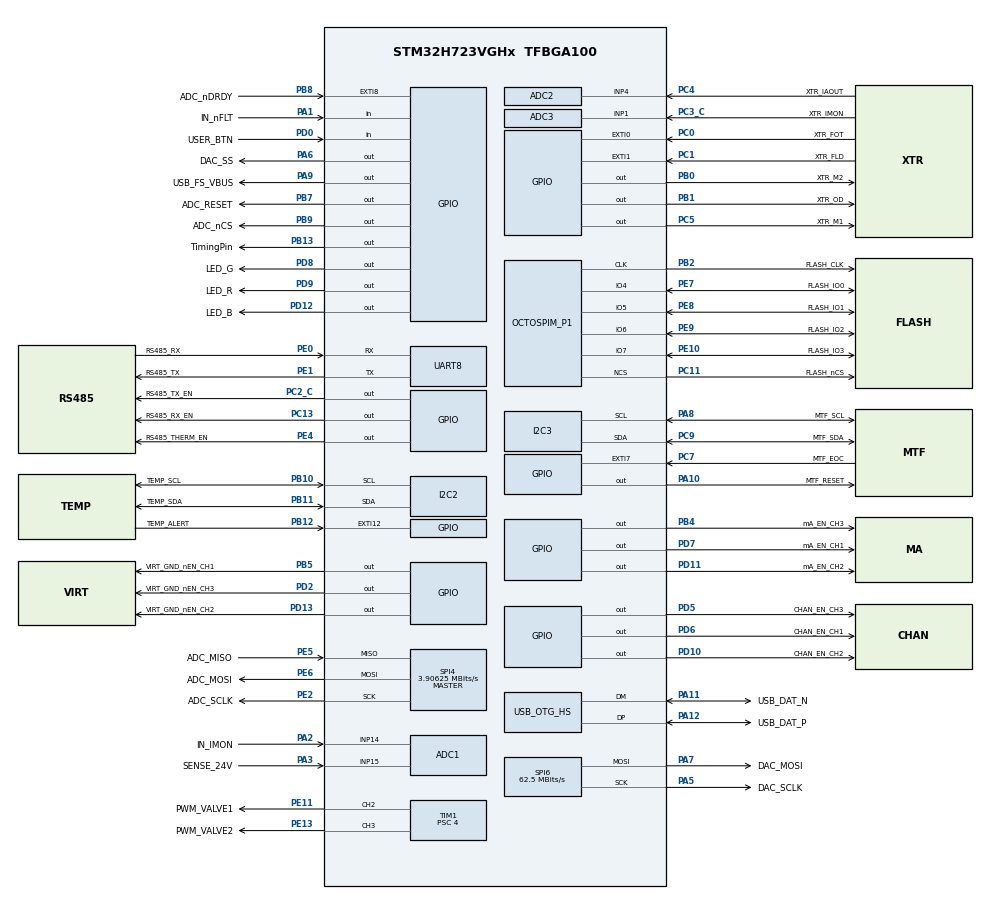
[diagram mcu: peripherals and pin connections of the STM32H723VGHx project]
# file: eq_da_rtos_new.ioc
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ADC1.Channel-0\#ChannelRegularConversion=ADC_CHANNEL_15
ADC1.Channel-1\#ChannelRegularConversion=ADC_CHANNEL_14
ADC1.ClockPrescaler=ADC_CLOCK_ASYNC_DIV128
ADC1.ConversionDataManagement=ADC_CONVERSIONDATA_DMA_ONESHOT
ADC1.NbrOfConversion=2
ADC1.NbrOfConversionFlag=1
ADC1.OffsetNumber-0\#ChannelRegularConversion=ADC_OFFSET_NONE
ADC1.OffsetNumber-1\#ChannelRegularConversion=ADC_OFFSET_NONE
ADC1.OffsetSignedSaturation-0\#ChannelRegularConversion=DISABLE
ADC1.OffsetSignedSaturation-1\#ChannelRegularConversion=DISABLE
ADC1.Rank-0\#ChannelRegularConversion=1
ADC1.Rank-1\#ChannelRegularConversion=2
ADC1.SamplingTime-0\#ChannelRegularConversion=ADC_SAMPLETIME_1CYCLE_5
ADC1.SamplingTime-1\#ChannelRegularConversion=ADC_SAMPLETIME_1CYCLE_5
ADC1.master=1
ADC2.Channel-0\#ChannelRegularConversion=ADC_CHANNEL_4
ADC2.ClockPrescaler=ADC_CLOCK_ASYNC_DIV128
ADC2.EnableAnalogWatchDog1=false
ADC2.NbrOfConversionFlag=1
ADC2.OffsetNumber-0\#ChannelRegularConversion=ADC_OFFSET_NONE
ADC2.OffsetSignedSaturation-0\#ChannelRegularConversion=DISABLE
ADC2.Rank-0\#ChannelRegularConversion=1
ADC2.SamplingTime-0\#ChannelRegularConversion=ADC_SAMPLETIME_1CYCLE_5
ADC3.Channel-0\#ChannelRegularConversion=ADC_CHANNEL_1
ADC3.NbrOfConversionFlag=1
ADC3.OffsetNumber-0\#ChannelRegularConversion=ADC_OFFSET_NONE
ADC3.OffsetSign-0\#ChannelRegularConversion=ADC3_OFFSET_SIGN_NEGATIVE
ADC3.Rank-0\#ChannelRegularConversion=1
ADC3.SamplingTime-0\#ChannelRegularConversion=ADC3_SAMPLETIME_2CYCLES_5
Bdma.ADC3.0.Direction=DMA_PERIPH_TO_MEMORY
Bdma.ADC3.0.EventEnable=DISABLE
Bdma.ADC3.0.Instance=BDMA_Channel1
Bdma.ADC3.0.MemDataAlignment=DMA_MDATAALIGN_HALFWORD
Bdma.ADC3.0.MemInc=DMA_MINC_ENABLE
Bdma.ADC3.0.Mode=DMA_NORMAL
Bdma.ADC3.0.PeriphDataAlignment=DMA_PDATAALIGN_HALFWORD
Bdma.ADC3.0.PeriphInc=DMA_PINC_DISABLE
Bdma.ADC3.0.Polarity=HAL_DMAMUX_REQ_GEN_RISING
Bdma.ADC3.0.Priority=DMA_PRIORITY_LOW
Bdma.ADC3.0.RequestNumber=1
Bdma.ADC3.0.SignalID=NONE
Bdma.ADC3.0.SyncEnable=DISABLE
Bdma.ADC3.0.SyncPolarity=HAL_DMAMUX_SYNC_NO_EVENT
Bdma.ADC3.0.SyncRequestNumber=1
Bdma.ADC3.0.SyncSignalID=NONE
Bdma.Request0=ADC3
Bdma.Request1=SPI6_TX
Bdma.RequestsNb=2
Bdma.SPI6_TX.1.Direction=DMA_MEMORY_TO_PERIPH
Bdma.SPI6_TX.1.EventEnable=DISABLE
Bdma.SPI6_TX.1.Instance=BDMA_Channel0
Bdma.SPI6_TX.1.MemDataAlignment=DMA_MDATAALIGN_BYTE
Bdma.SPI6_TX.1.MemInc=DMA_MINC_ENABLE
Bdma.SPI6_TX.1.Mode=DMA_NORMAL
Bdma.SPI6_TX.1.PeriphDataAlignment=DMA_PDATAALIGN_BYTE
Bdma.SPI6_TX.1.PeriphInc=DMA_PINC_DISABLE
Bdma.SPI6_TX.1.Polarity=HAL_DMAMUX_REQ_GEN_RISING
Bdma.SPI6_TX.1.Priority=DMA_PRIORITY_LOW
Bdma.SPI6_TX.1.RequestNumber=1
Bdma.SPI6_TX.1.SignalID=NONE
Bdma.SPI6_TX.1.SyncEnable=DISABLE
Bdma.SPI6_TX.1.SyncPolarity=HAL_DMAMUX_SYNC_NO_EVENT
Bdma.SPI6_TX.1.SyncRequestNumber=1
Bdma.SPI6_TX.1.SyncSignalID=NONE
Dma.ADC1.0.Direction=DMA_PERIPH_TO_MEMORY
Dma.ADC1.0.EventEnable=DISABLE
Dma.ADC1.0.FIFOMode=DMA_FIFOMODE_DISABLE
Dma.ADC1.0.Instance=DMA2_Stream0
Dma.ADC1.0.MemDataAlignment=DMA_MDATAALIGN_HALFWORD
Dma.ADC1.0.MemInc=DMA_MINC_ENABLE
Dma.ADC1.0.Mode=DMA_NORMAL
Dma.ADC1.0.PeriphDataAlignment=DMA_PDATAALIGN_HALFWORD
Dma.ADC1.0.PeriphInc=DMA_PINC_DISABLE
Dma.ADC1.0.Polarity=HAL_DMAMUX_REQ_GEN_RISING
Dma.ADC1.0.Priority=DMA_PRIORITY_LOW
Dma.ADC1.0.RequestNumber=1
Dma.ADC1.0.SignalID=NONE
Dma.ADC1.0.SyncEnable=DISABLE
Dma.ADC1.0.SyncPolarity=HAL_DMAMUX_SYNC_NO_EVENT
Dma.ADC1.0.SyncRequestNumber=1
Dma.ADC1.0.SyncSignalID=NONE
Dma.ADC2.1.Direction=DMA_PERIPH_TO_MEMORY
Dma.ADC2.1.EventEnable=DISABLE
Dma.ADC2.1.FIFOMode=DMA_FIFOMODE_DISABLE
Dma.ADC2.1.Instance=DMA2_Stream1
Dma.ADC2.1.MemDataAlignment=DMA_MDATAALIGN_HALFWORD
Dma.ADC2.1.MemInc=DMA_MINC_ENABLE
Dma.ADC2.1.Mode=DMA_NORMAL
Dma.ADC2.1.PeriphDataAlignment=DMA_PDATAALIGN_HALFWORD
Dma.ADC2.1.PeriphInc=DMA_PINC_DISABLE
Dma.ADC2.1.Polarity=HAL_DMAMUX_REQ_GEN_RISING
Dma.ADC2.1.Priority=DMA_PRIORITY_LOW
Dma.ADC2.1.RequestNumber=1
Dma.ADC2.1.SignalID=NONE
Dma.ADC2.1.SyncEnable=DISABLE
Dma.ADC2.1.SyncPolarity=HAL_DMAMUX_SYNC_NO_EVENT
Dma.ADC2.1.SyncRequestNumber=1
Dma.ADC2.1.SyncSignalID=NONE
Dma.I2C2_RX.8.Direction=DMA_PERIPH_TO_MEMORY
Dma.I2C2_RX.8.EventEnable=DISABLE
Dma.I2C2_RX.8.FIFOMode=DMA_FIFOMODE_DISABLE
Dma.I2C2_RX.8.Instance=DMA1_Stream6
Dma.I2C2_RX.8.MemDataAlignment=DMA_MDATAALIGN_BYTE
Dma.I2C2_RX.8.MemInc=DMA_MINC_ENABLE
Dma.I2C2_RX.8.Mode=DMA_NORMAL
Dma.I2C2_RX.8.PeriphDataAlignment=DMA_PDATAALIGN_BYTE
Dma.I2C2_RX.8.PeriphInc=DMA_PINC_DISABLE
Dma.I2C2_RX.8.Polarity=HAL_DMAMUX_REQ_GEN_RISING
Dma.I2C2_RX.8.Priority=DMA_PRIORITY_LOW
Dma.I2C2_RX.8.RequestNumber=1
Dma.I2C2_RX.8.SignalID=NONE
Dma.I2C2_RX.8.SyncEnable=DISABLE
Dma.I2C2_RX.8.SyncPolarity=HAL_DMAMUX_SYNC_NO_EVENT
Dma.I2C2_RX.8.SyncRequestNumber=1
Dma.I2C2_RX.8.SyncSignalID=NONE
Dma.I2C2_TX.9.Direction=DMA_MEMORY_TO_PERIPH
Dma.I2C2_TX.9.EventEnable=DISABLE
Dma.I2C2_TX.9.FIFOMode=DMA_FIFOMODE_DISABLE
Dma.I2C2_TX.9.Instance=DMA1_Stream7
Dma.I2C2_TX.9.MemDataAlignment=DMA_MDATAALIGN_BYTE
Dma.I2C2_TX.9.MemInc=DMA_MINC_ENABLE
Dma.I2C2_TX.9.Mode=DMA_NORMAL
Dma.I2C2_TX.9.PeriphDataAlignment=DMA_PDATAALIGN_BYTE
Dma.I2C2_TX.9.PeriphInc=DMA_PINC_DISABLE
Dma.I2C2_TX.9.Polarity=HAL_DMAMUX_REQ_GEN_RISING
Dma.I2C2_TX.9.Priority=DMA_PRIORITY_LOW
Dma.I2C2_TX.9.RequestNumber=1
Dma.I2C2_TX.9.SignalID=NONE
Dma.I2C2_TX.9.SyncEnable=DISABLE
Dma.I2C2_TX.9.SyncPolarity=HAL_DMAMUX_SYNC_NO_EVENT
Dma.I2C2_TX.9.SyncRequestNumber=1
Dma.I2C2_TX.9.SyncSignalID=NONE
Dma.I2C3_RX.6.Direction=DMA_PERIPH_TO_MEMORY
Dma.I2C3_RX.6.EventEnable=DISABLE
Dma.I2C3_RX.6.FIFOMode=DMA_FIFOMODE_DISABLE
Dma.I2C3_RX.6.Instance=DMA1_Stream4
Dma.I2C3_RX.6.MemDataAlignment=DMA_MDATAALIGN_BYTE
Dma.I2C3_RX.6.MemInc=DMA_MINC_ENABLE
Dma.I2C3_RX.6.Mode=DMA_NORMAL
Dma.I2C3_RX.6.PeriphDataAlignment=DMA_PDATAALIGN_BYTE
Dma.I2C3_RX.6.PeriphInc=DMA_PINC_DISABLE
Dma.I2C3_RX.6.Polarity=HAL_DMAMUX_REQ_GEN_RISING
Dma.I2C3_RX.6.Priority=DMA_PRIORITY_LOW
Dma.I2C3_RX.6.RequestNumber=1
Dma.I2C3_RX.6.SignalID=NONE
Dma.I2C3_RX.6.SyncEnable=DISABLE
Dma.I2C3_RX.6.SyncPolarity=HAL_DMAMUX_SYNC_NO_EVENT
Dma.I2C3_RX.6.SyncRequestNumber=1
Dma.I2C3_RX.6.SyncSignalID=NONE
Dma.I2C3_TX.7.Direction=DMA_MEMORY_TO_PERIPH
Dma.I2C3_TX.7.EventEnable=DISABLE
Dma.I2C3_TX.7.FIFOMode=DMA_FIFOMODE_DISABLE
Dma.I2C3_TX.7.Instance=DMA1_Stream5
Dma.I2C3_TX.7.MemDataAlignment=DMA_MDATAALIGN_BYTE
Dma.I2C3_TX.7.MemInc=DMA_MINC_ENABLE
Dma.I2C3_TX.7.Mode=DMA_NORMAL
Dma.I2C3_TX.7.PeriphDataAlignment=DMA_PDATAALIGN_BYTE
Dma.I2C3_TX.7.PeriphInc=DMA_PINC_DISABLE
Dma.I2C3_TX.7.Polarity=HAL_DMAMUX_REQ_GEN_RISING
Dma.I2C3_TX.7.Priority=DMA_PRIORITY_LOW
Dma.I2C3_TX.7.RequestNumber=1
Dma.I2C3_TX.7.SignalID=NONE
Dma.I2C3_TX.7.SyncEnable=DISABLE
Dma.I2C3_TX.7.SyncPolarity=HAL_DMAMUX_SYNC_NO_EVENT
Dma.I2C3_TX.7.SyncRequestNumber=1
Dma.I2C3_TX.7.SyncSignalID=NONE
Dma.Request0=ADC1
Dma.Request1=ADC2
Dma.Request2=UART8_RX
Dma.Request3=UART8_TX
Dma.Request4=SPI4_RX
Dma.Request5=SPI4_TX
Dma.Request6=I2C3_RX
Dma.Request7=I2C3_TX
Dma.Request8=I2C2_RX
Dma.Request9=I2C2_TX
Dma.SPI4_RX.4.Direction=DMA_PERIPH_TO_MEMORY
Dma.SPI4_RX.4.EventEnable=DISABLE
Dma.SPI4_RX.4.FIFOMode=DMA_FIFOMODE_DISABLE
Dma.SPI4_RX.4.Instance=DMA1_Stream2
Dma.SPI4_RX.4.MemDataAlignment=DMA_MDATAALIGN_BYTE
Dma.SPI4_RX.4.MemInc=DMA_MINC_ENABLE
Dma.SPI4_RX.4.Mode=DMA_NORMAL
Dma.SPI4_RX.4.PeriphDataAlignment=DMA_PDATAALIGN_BYTE
Dma.SPI4_RX.4.PeriphInc=DMA_PINC_DISABLE
Dma.SPI4_RX.4.Polarity=HAL_DMAMUX_REQ_GEN_RISING
Dma.SPI4_RX.4.Priority=DMA_PRIORITY_LOW
Dma.SPI4_RX.4.RequestNumber=1
Dma.SPI4_RX.4.SignalID=NONE
Dma.SPI4_RX.4.SyncEnable=DISABLE
Dma.SPI4_RX.4.SyncPolarity=HAL_DMAMUX_SYNC_NO_EVENT
Dma.SPI4_RX.4.SyncRequestNumber=1
Dma.SPI4_RX.4.SyncSignalID=NONE
Dma.SPI4_TX.5.Direction=DMA_MEMORY_TO_PERIPH
Dma.SPI4_TX.5.EventEnable=DISABLE
Dma.SPI4_TX.5.FIFOMode=DMA_FIFOMODE_DISABLE
Dma.SPI4_TX.5.Instance=DMA1_Stream3
Dma.SPI4_TX.5.MemDataAlignment=DMA_MDATAALIGN_BYTE
Dma.SPI4_TX.5.MemInc=DMA_MINC_ENABLE
Dma.SPI4_TX.5.Mode=DMA_NORMAL
Dma.SPI4_TX.5.PeriphDataAlignment=DMA_PDATAALIGN_BYTE
Dma.SPI4_TX.5.PeriphInc=DMA_PINC_DISABLE
Dma.SPI4_TX.5.Polarity=HAL_DMAMUX_REQ_GEN_RISING
Dma.SPI4_TX.5.Priority=DMA_PRIORITY_LOW
Dma.SPI4_TX.5.RequestNumber=1
Dma.SPI4_TX.5.SignalID=NONE
Dma.SPI4_TX.5.SyncEnable=DISABLE
Dma.SPI4_TX.5.SyncPolarity=HAL_DMAMUX_SYNC_NO_EVENT
Dma.SPI4_TX.5.SyncRequestNumber=1
Dma.SPI4_TX.5.SyncSignalID=NONE
Dma.UART8_RX.2.Direction=DMA_PERIPH_TO_MEMORY
Dma.UART8_RX.2.EventEnable=DISABLE
Dma.UART8_RX.2.FIFOMode=DMA_FIFOMODE_DISABLE
Dma.UART8_RX.2.Instance=DMA1_Stream0
Dma.UART8_RX.2.MemDataAlignment=DMA_MDATAALIGN_BYTE
Dma.UART8_RX.2.MemInc=DMA_MINC_ENABLE
Dma.UART8_RX.2.Mode=DMA_NORMAL
Dma.UART8_RX.2.PeriphDataAlignment=DMA_PDATAALIGN_BYTE
Dma.UART8_RX.2.PeriphInc=DMA_PINC_DISABLE
Dma.UART8_RX.2.Polarity=HAL_DMAMUX_REQ_GEN_RISING
Dma.UART8_RX.2.Priority=DMA_PRIORITY_LOW
Dma.UART8_RX.2.RequestNumber=1
Dma.UART8_RX.2.SignalID=NONE
Dma.UART8_RX.2.SyncEnable=DISABLE
Dma.UART8_RX.2.SyncPolarity=HAL_DMAMUX_SYNC_NO_EVENT
Dma.UART8_RX.2.SyncRequestNumber=1
Dma.UART8_RX.2.SyncSignalID=NONE
Dma.UART8_TX.3.Direction=DMA_MEMORY_TO_PERIPH
Dma.UART8_TX.3.EventEnable=DISABLE
Dma.UART8_TX.3.FIFOMode=DMA_FIFOMODE_DISABLE
Dma.UART8_TX.3.Instance=DMA1_Stream1
Dma.UART8_TX.3.MemDataAlignment=DMA_MDATAALIGN_BYTE
Dma.UART8_TX.3.MemInc=DMA_MINC_ENABLE
Dma.UART8_TX.3.Mode=DMA_NORMAL
Dma.UART8_TX.3.PeriphDataAlignment=DMA_PDATAALIGN_BYTE
Dma.UART8_TX.3.PeriphInc=DMA_PINC_DISABLE
Dma.UART8_TX.3.Polarity=HAL_DMAMUX_REQ_GEN_RISING
Dma.UART8_TX.3.Priority=DMA_PRIORITY_LOW
Dma.UART8_TX.3.RequestNumber=1
Dma.UART8_TX.3.SignalID=NONE
Dma.UART8_TX.3.SyncEnable=DISABLE
Dma.UART8_TX.3.SyncPolarity=HAL_DMAMUX_SYNC_NO_EVENT
Dma.UART8_TX.3.SyncRequestNumber=1
Dma.UART8_TX.3.SyncSignalID=NONE
FREERTOS.Mutexes01=eqDaMutex,Dynamic,NULL,Available
FREERTOS.Tasks01=StatusLedThread,24,256,StartStatusLedThread,Default,NULL,Dynamic,NULL,NULL;SensorControlTh,24,256,StartSensorControlThread,Default,NULL,Dynamic,NULL,NULL;AdcSensorThread,24,256,StartAdcSensorThread,Default,NULL,Dynamic,NULL,NULL;RefSensorThread,24,256,StartRefSensorThread,Default,NULL,Dynamic,NULL,NULL;SetpointThread,24,256,StartSetpointThread,Default,NULL,Dynamic,NULL,NULL;AlgorithmThread,24,256,StartAlgorithmThread,Default,NULL,Dynamic,NULL,NULL;ValveCurrentThr,24,256,StartValveCurrentThread,Default,NULL,Dynamic,NULL,NULL;AnalogOutThread,24,256,StartAnalogOutThread,Default,NULL,Dynamic,NULL,NULL;StatusThread,24,256,StartStatusThread,Default,NULL,Dynamic,NULL,NULL;LogThread,24,256,StartLogThread,Default,NULL,Dynamic,NULL,NULL;SecurityThread,24,256,StartSecurityThread,Default,NULL,Dynamic,NULL,NULL;ButtonThread,24,256,StartButtonThread,Default,NULL,Dynamic,NULL,NULL;ModbusThread,24,256,StartModbusThread,Default,NULL,Dynamic,NULL,NULL;WatchDogThread,24,256,StartWatchDogThread,Default,NULL,Dynamic,NULL,NULL
FREERTOS.Timers01=msTimer,msCallback,osTimerPeriodic,Default,NULL,Dynamic,NULL
FREERTOS.configMINIMAL_STACK_SIZE=256
FREERTOS.configTOTAL_HEAP_SIZE=20000
FREERTOS.configUSE_NEWLIB_REENTRANT=1
I2C2.Timing=0x20A0A3F6
I2C3.Timing=0x20A0A3F6
IWDG1.Prescaler=IWDG_PRESCALER_256
Mcu.Family=STM32H7
Mcu.Name=STM32H723VGHx
Mcu.Package=TFBGA100
Mdma.MDMA_Channel0.OCTOSPI1_FIFO_TH.0.BlockCount=0
Mdma.MDMA_Channel0.OCTOSPI1_FIFO_TH.0.BlockDataLength=0
Mdma.MDMA_Channel0.OCTOSPI1_FIFO_TH.0.BufferTransferLength=1
Mdma.MDMA_Channel0.OCTOSPI1_FIFO_TH.0.CircularMode=MDMA_LINEAR_LIST
Mdma.MDMA_Channel0.OCTOSPI1_FIFO_TH.0.DataAlignment=MDMA_DATAALIGN_PACKENABLE
Mdma.MDMA_Channel0.OCTOSPI1_FIFO_TH.0.DestBlockAddressOffset=0
Mdma.MDMA_Channel0.OCTOSPI1_FIFO_TH.0.DestBurst=MDMA_DEST_BURST_SINGLE
Mdma.MDMA_Channel0.OCTOSPI1_FIFO_TH.0.DestDataSize=MDMA_DEST_DATASIZE_BYTE
Mdma.MDMA_Channel0.OCTOSPI1_FIFO_TH.0.DestinationInc=MDMA_DEST_INC_BYTE
Mdma.MDMA_Channel0.OCTOSPI1_FIFO_TH.0.DstAddress=0
Mdma.MDMA_Channel0.OCTOSPI1_FIFO_TH.0.Endianness=MDMA_LITTLE_ENDIANNESS_PRESERVE
Mdma.MDMA_Channel0.OCTOSPI1_FIFO_TH.0.Instance=MDMA_Channel0
Mdma.MDMA_Channel0.OCTOSPI1_FIFO_TH.0.MaskAddress=0
Mdma.MDMA_Channel0.OCTOSPI1_FIFO_TH.0.MaskData=0
Mdma.MDMA_Channel0.OCTOSPI1_FIFO_TH.0.Priority=MDMA_PRIORITY_LOW
Mdma.MDMA_Channel0.OCTOSPI1_FIFO_TH.0.Rank=First
Mdma.MDMA_Channel0.OCTOSPI1_FIFO_TH.0.SourceBlockAddressOffset=0
Mdma.MDMA_Channel0.OCTOSPI1_FIFO_TH.0.SourceBurst=MDMA_SOURCE_BURST_SINGLE
Mdma.MDMA_Channel0.OCTOSPI1_FIFO_TH.0.SourceDataSize=MDMA_SRC_DATASIZE_BYTE
Mdma.MDMA_Channel0.OCTOSPI1_FIFO_TH.0.SourceInc=MDMA_SRC_INC_BYTE
Mdma.MDMA_Channel0.OCTOSPI1_FIFO_TH.0.SrcAddress=0
Mdma.MDMA_Channel0.OCTOSPI1_FIFO_TH.0.TransferTriggerMode=MDMA_BUFFER_TRANSFER
Mdma.MDMA_Channel0.Request0=OCTOSPI1_FIFO_TH
Mdma.MDMA_Channel0.RequestsNb=1
Mdma.RequestSet0=MDMA_Channel0
Mdma.RequestSetsNb=1
NVIC.ADC_IRQn=true\:6\:0\:true\:false\:true\:true\:true\:true\:true
NVIC.BDMA_Channel0_IRQn=true\:5\:0\:true\:false\:true\:true\:false\:true\:true
NVIC.BDMA_Channel1_IRQn=true\:5\:0\:true\:false\:true\:true\:false\:true\:true
NVIC.DMA1_Stream0_IRQn=true\:5\:0\:true\:false\:true\:true\:false\:true\:true
NVIC.DMA1_Stream1_IRQn=true\:5\:0\:true\:false\:true\:true\:false\:true\:true
NVIC.DMA1_Stream2_IRQn=true\:5\:0\:true\:false\:true\:true\:false\:true\:true
NVIC.DMA1_Stream3_IRQn=true\:5\:0\:true\:false\:true\:true\:false\:true\:true
NVIC.DMA1_Stream4_IRQn=true\:5\:0\:true\:false\:true\:true\:false\:true\:true
NVIC.DMA1_Stream5_IRQn=true\:5\:0\:true\:false\:true\:true\:false\:true\:true
NVIC.DMA1_Stream6_IRQn=true\:5\:0\:true\:false\:true\:true\:false\:true\:true
NVIC.DMA1_Stream7_IRQn=true\:5\:0\:true\:false\:true\:true\:false\:true\:true
NVIC.DMA2_Stream0_IRQn=true\:5\:0\:true\:false\:true\:true\:false\:true\:true
NVIC.DMA2_Stream1_IRQn=true\:5\:0\:true\:false\:true\:true\:false\:true\:true
NVIC.EXTI0_IRQn=true\:6\:0\:true\:false\:true\:true\:true\:true\:true
NVIC.EXTI15_10_IRQn=true\:6\:0\:true\:false\:true\:true\:true\:true\:true
NVIC.EXTI1_IRQn=true\:6\:0\:true\:false\:true\:true\:true\:true\:true
NVIC.EXTI9_5_IRQn=true\:6\:0\:true\:false\:true\:true\:true\:true\:true
NVIC.I2C2_EV_IRQn=true\:6\:0\:true\:false\:true\:true\:true\:true\:true
NVIC.MDMA_IRQn=true\:5\:0\:true\:false\:true\:true\:false\:true\:true
NVIC.OCTOSPI1_IRQn=true\:6\:0\:true\:false\:true\:true\:true\:true\:true
NVIC.OTG_HS_IRQn=true\:6\:0\:true\:false\:true\:true\:false\:true\:true
NVIC.PriorityGroup=NVIC_PRIORITYGROUP_4
NVIC.SPI4_IRQn=true\:6\:0\:true\:false\:true\:true\:false\:true\:true
NVIC.SPI6_IRQn=true\:6\:0\:true\:false\:true\:true\:false\:true\:true
NVIC.TIM2_IRQn=true\:6\:0\:true\:false\:true\:false\:false\:true\:true
NVIC.TimeBase=TIM2_IRQn
NVIC.TimeBaseIP=TIM2
NVIC.UART8_IRQn=true\:6\:0\:true\:false\:true\:true\:true\:true\:true
PA0.GPIO_Label=XTR_FMC
PA0.Signal=S_TIM5_CH1
PA1.GPIO_Label=IN_nFLT
PA1.Signal=GPIO_Input
PA10.GPIO_Label=MTF_RESET
PA10.Signal=GPIO_Output
PA11.GPIO_Label=USB_DAT_N
PA11.Mode=Device_Only_FS
PA11.Signal=USB_OTG_HS_DM
PA12.GPIO_Label=USB_DAT_P
PA12.Mode=Device_Only_FS
PA12.Signal=USB_OTG_HS_DP
PA13(JTMS/SWDIO).GPIO_Label=SWDIO
PA13(JTMS/SWDIO).Mode=Serial_Wire
PA13(JTMS/SWDIO).Signal=DEBUG_JTMS-SWDIO
PA14(JTCK/SWCLK).GPIO_Label=SWCLK
PA14(JTCK/SWCLK).Mode=Serial_Wire
PA14(JTCK/SWCLK).Signal=DEBUG_JTCK-SWCLK
PA15(JTDI).GPIO_Label=IN_nSHDN
PA15(JTDI).Signal=S_TIM2_CH1_ETR
PA2.GPIO_Label=IN_IMON
PA2.Signal=ADCx_INP14
PA3.GPIO_Label=SENSE_24V
PA3.Signal=ADCx_INP15
PA5.GPIO_Label=DAC_SCLK
PA5.Mode=TX_Only_Simplex_Unidirect_Master
PA5.Signal=SPI6_SCK
PA6.GPIO_Label=DAC_SS
PA6.Signal=GPIO_Output
PA7.GPIO_Label=DAC_MOSI
PA7.Mode=TX_Only_Simplex_Unidirect_Master
PA7.Signal=SPI6_MOSI
PA8.GPIO_Label=MTF_SCL
PA8.GPIO_Pu=GPIO_PULLUP
PA8.Mode=I2C
PA8.Signal=I2C3_SCL
PA9.GPIO_Label=USB_FS_VBUS
PA9.Signal=GPIO_Output
PB0.GPIO_Label=XTR_M2
PB0.Signal=GPIO_Output
PB1.GPIO_Label=XTR_OD
PB1.Signal=GPIO_Output
PB10.GPIO_Label=TEMP_SCL
PB10.GPIO_Pu=GPIO_PULLUP
PB10.Mode=I2C
PB10.Signal=I2C2_SCL
PB11.GPIO_Label=TEMP_SDA
PB11.GPIO_Pu=GPIO_PULLUP
PB11.Mode=I2C
PB11.Signal=I2C2_SDA
PB12.GPIO_Label=TEMP_ALERT
PB12.Signal=GPXTI12
PB13.GPIO_Label=TimingPin
PB13.GPIO_PuPd=GPIO_PULLDOWN
PB13.Signal=GPIO_Output
PB2.GPIO_Label=FLASH_CLK
PB2.Mode=O1_P1_CLK
PB2.Signal=OCTOSPIM_P1_CLK
PB3(JTDO/TRACESWO).GPIO_Label=SWO
PB3(JTDO/TRACESWO).Signal=DEBUG_JTDO-SWO
PB4(NJTRST).GPIO_Label=mA_EN_CH3
PB4(NJTRST).Signal=GPIO_Output
PB5.GPIO_Label=VIRT_GND_nEN_CH1
PB5.Signal=GPIO_Output
PB7.GPIO_Label=ADC_RESET
PB7.Signal=GPIO_Output
PB8.GPIO_Label=ADC_nDRDY
PB8.GPIO_ModeDefaultEXTI=GPIO_MODE_IT_RISING_FALLING
PB8.GPIO_PuPd=GPIO_PULLUP
PB8.Signal=GPXTI8
PB9.GPIO_Label=ADC_nCS
PB9.Signal=GPIO_Output
PC0.GPIO_Label=XTR_FOT
PC0.Signal=GPXTI0
PC1.GPIO_Label=XTR_FLD
PC1.Signal=GPXTI1
PC11.GPIO_Label=FLASH_nCS
PC11.Mode=OCTOSPI1_Port1_NCS
PC11.Signal=OCTOSPIM_P1_NCS
PC13.GPIO_Label=RS485_RX_EN
PC13.Signal=GPIO_Output
PC14-OSC32_IN.GPIO_Label=CR_32_N
PC14-OSC32_IN.Mode=LSE-External-Oscillator
PC14-OSC32_IN.Signal=RCC_OSC32_IN
PC15-OSC32_OUT.GPIO_Label=CR_32_P
PC15-OSC32_OUT.Mode=LSE-External-Oscillator
PC15-OSC32_OUT.Signal=RCC_OSC32_OUT
PC2_C.GPIO_Label=RS485_TX_EN
PC2_C.Signal=GPIO_Output
PC3_C.GPIO_Label=XTR_IMON
PC3_C.Mode=IN1-Single-Ended
PC3_C.Signal=ADC3_INP1
PC4.GPIO_Label=XTR_IAOUT
PC4.Signal=ADCx_INP4
PC5.GPIO_Label=XTR_M1
PC5.Signal=GPIO_Output
PC7.GPIO_Label=MTF_EOC
PC7.Signal=GPXTI7
PC9.GPIO_Label=MTF_SDA
PC9.GPIO_Pu=GPIO_PULLUP
PC9.Mode=I2C
PC9.Signal=I2C3_SDA
PD0.GPIO_Label=USER_BTN
PD0.GPIO_PuPd=GPIO_PULLUP
PD0.Signal=GPIO_Input
PD10.GPIO_Label=CHAN_EN_CH2
PD10.Signal=GPIO_Output
PD11.GPIO_Label=mA_EN_CH2
PD11.Signal=GPIO_Output
PD12.GPIO_Label=LED_B
PD12.Signal=GPIO_Output
PD13.GPIO_Label=VIRT_GND_nEN_CH2
PD13.Signal=GPIO_Output
PD2.GPIO_Label=VIRT_GND_nEN_CH3
PD2.Signal=GPIO_Output
PD5.GPIO_Label=CHAN_EN_CH3
PD5.Signal=GPIO_Output
PD6.GPIO_Label=CHAN_EN_CH1
PD6.Signal=GPIO_Output
PD7.GPIO_Label=mA_EN_CH1
PD7.Signal=GPIO_Output
PD8.GPIO_Label=LED_G
PD8.Signal=GPIO_Output
PD9.GPIO_Label=LED_R
PD9.Signal=GPIO_Output
PE0.GPIO_Label=RS485_RX
PE0.Mode=Asynchronous
PE0.Signal=UART8_RX
PE1.GPIO_Label=RS485_TX
PE1.Mode=Asynchronous
PE1.Signal=UART8_TX
PE10.GPIO_Label=FLASH_IO3
PE10.Mode=OCTOSPI1_IOL_Port1H
PE10.Signal=OCTOSPIM_P1_IO7
PE11.GPIO_Label=PWM_VALVE1
PE11.GPIO_ModeDefaultPP=GPIO_MODE_AF_PP
PE11.Signal=S_TIM1_CH2
PE13.GPIO_Label=PWM_VALVE2
PE13.GPIO_ModeDefaultPP=GPIO_MODE_AF_PP
PE13.Signal=S_TIM1_CH3
PE2.GPIO_Label=ADC_SCLK
PE2.Mode=Full_Duplex_Master
PE2.Signal=SPI4_SCK
PE4.GPIO_Label=RS485_THERM_EN
PE4.Signal=GPIO_Output
PE5.GPIO_Label=ADC_MISO
PE5.Mode=Full_Duplex_Master
PE5.Signal=SPI4_MISO
PE6.GPIO_Label=ADC_MOSI
PE6.Mode=Full_Duplex_Master
PE6.Signal=SPI4_MOSI
PE7.GPIO_Label=FLASH_IO0
PE7.Mode=OCTOSPI1_IOL_Port1H
PE7.Signal=OCTOSPIM_P1_IO4
PE8.GPIO_Label=FLASH_IO1
PE8.Mode=OCTOSPI1_IOL_Port1H
PE8.Signal=OCTOSPIM_P1_IO5
PE9.GPIO_Label=FLASH_IO2
PE9.Mode=OCTOSPI1_IOL_Port1H
PE9.Signal=OCTOSPIM_P1_IO6
PH0-OSC_IN.GPIO_Label=CR_N
PH0-OSC_IN.Mode=HSE-External-Oscillator
PH0-OSC_IN.Signal=RCC_OSC_IN
PH1-OSC_OUT.GPIO_Label=CR_P
PH1-OSC_OUT.Mode=HSE-External-Oscillator
PH1-OSC_OUT.Signal=RCC_OSC_OUT
ProjectManager.HeapSize=0x200
ProjectManager.StackSize=0x400
ProjectManager.TargetToolchain=STM32CubeIDE
RCC.ADCFreq_Value=129000000
RCC.APB1Freq_Value=125000000
RCC.APB2Freq_Value=125000000
RCC.APB3Freq_Value=125000000
RCC.APB4Freq_Value=125000000
RCC.CortexFreq_Value=500000000
RCC.D1PPRE=RCC_APB3_DIV2
RCC.D2PPRE1=RCC_APB1_DIV2
RCC.D2PPRE2=RCC_APB2_DIV2
RCC.D3PPRE=RCC_APB4_DIV2
RCC.DIVM1=6
RCC.DIVM2=12
RCC.DIVN1=125
RCC.DIVN3=90
RCC.DIVP1=1
RCC.DIVR2=12
RCC.DIVR3=8
RCC.HCLKFreq_Value=250000000
RCC.HPRE=RCC_HCLK_DIV2
RCC.HSE_VALUE=24000000
RCC.LSE_Timout=10000
RCC.PLLSourceVirtual=RCC_PLLSOURCE_HSE
RCC.PWR_Regulator_Voltage_Scale=PWR_REGULATOR_VOLTAGE_SCALE0
RCC.RTCClockSelection=RCC_RTCCLKSOURCE_LSE
RCC.SYSCLKFreq_VALUE=500000000
RCC.SYSCLKSource=RCC_SYSCLKSOURCE_PLLCLK
RCC.USBCLockSelection=RCC_USBCLKSOURCE_HSI48
RCC.USBFreq_Value=48000000
SH.ADCx_INP14.0=ADC1_INP14,IN14-Single-Ended
SH.ADCx_INP15.0=ADC1_INP15,IN15-Single-Ended
SH.ADCx_INP4.0=ADC2_INP4,IN4-Single-Ended
SH.S_TIM1_CH2.0=TIM1_CH2,PWM Generation2 CH2
SH.S_TIM1_CH3.0=TIM1_CH3,PWM Generation3 CH3
SH.S_TIM2_CH1_ETR.0=TIM2_CH1
SH.S_TIM5_CH1.0=TIM5_CH1
SPI4.BaudRatePrescaler=SPI_BAUDRATEPRESCALER_32
SPI4.CLKPhase=SPI_PHASE_2EDGE
SPI4.CalculateBaudRate=3.90625 MBits/s
SPI4.DataSize=SPI_DATASIZE_8BIT
SPI4.Direction=SPI_DIRECTION_2LINES
SPI4.Mode=SPI_MODE_MASTER
SPI4.VirtualType=VM_MASTER
SPI6.CalculateBaudRate=62.5 MBits/s
SPI6.Direction=SPI_DIRECTION_2LINES_TXONLY
SPI6.Mode=SPI_MODE_MASTER
SPI6.VirtualType=VM_MASTER
TIM1.Channel-PWM\ Generation2\ CH2=TIM_CHANNEL_2
TIM1.Channel-PWM\ Generation3\ CH3=TIM_CHANNEL_3
TIM1.OCFastMode_PWM-PWM\ Generation2\ CH2=TIM_OCFAST_ENABLE
TIM1.OCFastMode_PWM-PWM\ Generation3\ CH3=TIM_OCFAST_ENABLE
TIM1.Prescaler=4
USB_DEVICE.CLASS_NAME_HS=CDC
USB_DEVICE.MANUFACTURER_STRING=Pressure Control SOlutions
USB_DEVICE.PRODUCT_STRING_CDC_HS=EQ_DA Series
USB_DEVICE.USBD_DEBUG_LEVEL=0
USB_DEVICE.USBD_LPM_ENABLED=1
USB_DEVICE.USBD_MAX_NUM_INTERFACES=1
USB_DEVICE.USBD_MAX_STR_DESC_SIZ=512
USB_DEVICE.USBD_SELF_POWERED=0
USB_DEVICE.VirtualMode=Cdc
USB_DEVICE.VirtualModeHS=Cdc_HS
USB_OTG_HS.VirtualMode-Device_Only_FS=Device_Only_FS
USB_OTG_HS.dma_enable-Device_Only_FS=DISABLE
VP_FREERTOS_VS_CMSIS_V2.Mode=CMSIS_V2
VP_IWDG1_VS_IWDG.Mode=IWDG_Activate
VP_MEMORYMAP_VS_MEMORYMAP.Mode=CurAppReg
VP_OCTOSPI1_VS_quad.Mode=quad_mode
VP_RTC_VS_RTC_Activate.Mode=RTC_Enabled
VP_RTC_VS_RTC_Calendar.Mode=RTC_Calendar
VP_SYS_VS_tim2.Mode=TIM2
VP_TIM1_VS_ClockSourceINT.Mode=Internal
VP_USB_DEVICE_VS_USB_DEVICE_CDC_HS.Mode=CDC_HS
board=custom

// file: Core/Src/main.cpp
/* USER CODE BEGIN Header */
/**
  ******************************************************************************
  * @file           : main.c
  * @brief          : Main program body
  ******************************************************************************
  * @attention
  *
  * Copyright (c) 2024 STMicroelectronics.
  * All rights reserved.
  *
  * This software is licensed under terms that can be found in the LICENSE file
  * in the root directory of this software component.
  * If no LICENSE file comes with this software, it is provided AS-IS.
  *
  ******************************************************************************
  */
/* USER CODE END Header */
#include "main.h"
#include "cmsis_os.h"
#include "adc.h"
#include "bdma.h"
#include "dma.h"
#include "i2c.h"
#include "mdma.h"
#include "memorymap.h"
#include "octospi.h"
#include "rtc.h"
#include "spi.h"
#include "tim.h"
#include "usart.h"
#include "usb_device.h"
#include "gpio.h"
#include "iwdg.h"

/* USER CODE BEGIN Includes */
#include "systemClock.h"
#include "stm32_error_handler.h"
#include "callbacks.h"
#if defined(USE_FULL_ASSERT)
	#include "stm32_assert.h"
#endif /* USE_FULL_ASSERT */

#include <generic.h>
#include "rtc.hpp"
#include "dataStorage.hpp"
#include "watchdog.hpp"
#include "xLDRefpres.hpp"
#include "utils.hpp"
//#include "ina219.hpp"

/* USER CODE END Includes */

/* USER CODE BEGIN PV */

//Local objects, used on multiple tasks
dataStorage ds;
rtcTimer rtc;
utils ut;
watchdog wd;

#define NR_TASKS	14
uint16_t Task[60] = {0, 0, 0, 0, 0, 0, 0, 0, 0, 0, 0, 0, 0, 0, 0, 0, 0, 0, 0, 0, 0, 0, 0, 0, 0, 0, 0, 0, 0, 0, 0, 0, 0, 0, 0, 0, 0, 0, 0, 0, 0, 0, 0, 0, 0, 0, 0, 0, 0, 0, 0, 0, 0, 0, 0, 0, 0, 0, 0, 0};
bool led = false;
uint32_t wdError;

/* Definitions for RefSensorThread */
osThreadId_t RefSensorThreadHandle;
const osThreadAttr_t RefSensorThread_attributes = { .name = "RefSensorThread", .stack_size = 256 * 4, .priority = (osPriority_t) osPriorityNormal,};
/* Definitions for WatchDogThread */
osThreadId_t WatchDogThreadHandle;
const osThreadAttr_t WatchDogThread_attributes = { .name = "WatchDogThread", .stack_size = 256 * 4, .priority = (osPriority_t) osPriorityNormal,};

/* Definitions for eqDaMutex */
osMutexId_t eqDaMutexHandle;
const osMutexAttr_t eqDaMutex_attributes = { .name = "eqDaMutex"};

/* USER CODE END PV */

/* USER CODE BEGIN PFP */
void StartRefSensorThread(void *argument);
void StartWatchDogThread(void *argument);

/* USER CODE END PFP */

int main(void)
{

	/* MCU Configuration--------------------------------------------------------*/

	/* Reset of all peripherals, Initializes the Flash interface and the Systick. */
	HAL_Init();

	/* Configure the system clock */
	SystemClock_Config();

	/* Configure the peripherals common clocks */
	PeriphCommonClock_Config();

	/* Initialize all configured peripherals */
	MX_GPIO_Init();
	MX_DMA_Init();
	MX_BDMA_Init();
	MX_MDMA_Init();
	MX_ADC2_Init();
	MX_ADC3_Init();
	MX_ADC1_Init();
	MX_TIM1_Init();
	MX_I2C2_Init();
	MX_I2C3_Init();
	MX_OCTOSPI1_Init();
	MX_SPI4_Init();
	MX_SPI6_Init();
	MX_UART8_Init();
	MX_RTC_Init();
	MX_IWDG1_Init();

	/* USER CODE BEGIN 2 */
	//	rtc.rtcInit();

	/* USER CODE END 2 */

	/* Init scheduler */
	osKernelInitialize();

	/* Create the mutex(es) */
	/* creation of eqDaMutex */
	eqDaMutexHandle = osMutexNew(&eqDaMutex_attributes);

	/* Create the timer(s) */

	/* Create the thread(s) */
	/* creation of RefSensorThread */
	RefSensorThreadHandle = osThreadNew(StartRefSensorThread, NULL, &RefSensorThread_attributes);

	/* creation of WatchDogThread */
	WatchDogThreadHandle = osThreadNew(StartWatchDogThread, NULL, &WatchDogThread_attributes);

	osMutexRelease(eqDaMutexHandle);

	/* Start scheduler */
	osKernelStart();

	/* We should never get here as control is now taken by the scheduler */

	/* Infinite loop */
	while (1)
	{

	}
}

void StartRefSensorThread(void *argument)
{
	/* USER CODE BEGIN StartSensorControlThread */
		Task[3] = 4;
	uint8_t busAddress = 0x40;
	DMA_HandleTypeDef i2c3DmaRecv;
	DMA_HandleTypeDef i2c3DmaSend;
	I2C_HandleTypeDef hi2c3;

	xLDRefpres refP(busAddress, hi2c3, i2c3DmaRecv, i2c3DmaSend, MTF_RESET_GPIO_Port, MTF_RESET_Pin);
	/* Infinite loop */
	while(1)
	{
		osMutexAcquire(eqDaMutexHandle, osWaitForever);
		Task[23] = 24;

		refP.run(ds);
		Task[43] = 44;

		wd.setWdrcFlags(static_cast<uint8_t>(wdResetControl::REF_SENSOR_TASK));

		osMutexRelease(eqDaMutexHandle);
		osDelay(1);
	}
	/* USER CODE END StartSensorControlThread */
}

void StartWatchDogThread(void *argument)
{
	/* USER CODE BEGIN StartSensorControlThread */
		Task[13] = 14;
	/* Infinite loop */
	while(1)
	{
		Task[33] = 34;
		osMutexAcquire(eqDaMutexHandle, osWaitForever);
		for(uint32_t x=0; x<60000;x++) {}

		bool clear = true;
		for(uint8_t x=20; x<60;x++)
		{
			if(Task[x] == 0)
				clear = false;
		}
		for(uint8_t x=20; x<60;x++)
		{
			if(clear)
			{
				Task[x] = 0;
			}
		}

		wd.setWdrcFlags(static_cast<uint8_t>(wdResetControl::WATCHDOG_TASK));
		wdError = wd.getFaultCode();
		if(wdError == 0)
		{
			//watchdog error, at least 1 task is not running
		}

		osMutexRelease(eqDaMutexHandle);
		Task[53] = 54;
		osDelay(1);

	}
	/* USER CODE END StartSensorControlThread */
}

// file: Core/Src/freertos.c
/* USER CODE BEGIN Header */
/**
  ******************************************************************************
  * File Name          : freertos.c
  * Description        : Code for freertos applications
  ******************************************************************************
  * @attention
  *
  * Copyright (c) 2024 STMicroelectronics.
  * All rights reserved.
  *
  * This software is licensed under terms that can be found in the LICENSE file
  * in the root directory of this software component.
  * If no LICENSE file comes with this software, it is provided AS-IS.
  *
  ******************************************************************************
  */
/* USER CODE END Header */

#include "FreeRTOS.h"
#include "task.h"
#include "main.h"
#include "cmsis_os.h"

void MX_FREERTOS_Init(void); /* (MISRA C 2004 rule 8.1) */

void MX_FREERTOS_Init(void)
{
	/* Create the mutex(es) */

	/* Create the timer(s) */

	/* Create the thread(s) */

}
